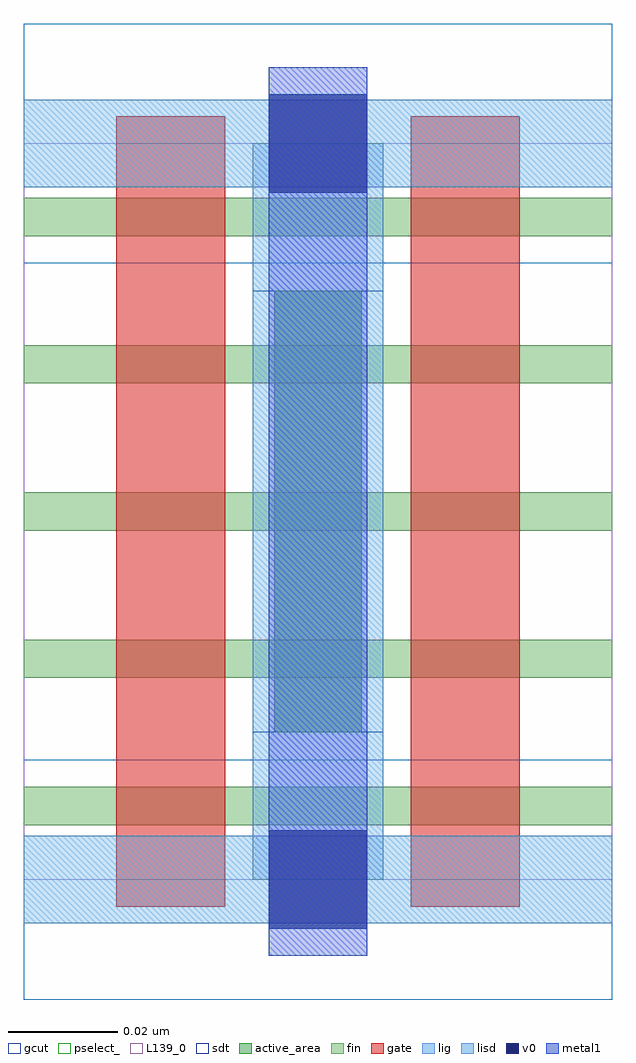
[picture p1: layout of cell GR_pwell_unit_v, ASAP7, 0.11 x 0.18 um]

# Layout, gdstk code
import gdstk
lib = gdstk.Library(unit=1e-6, precision=2.5e-10)
def R(c, l, rs):  # rectangles x0, y0, x1, y1
    for r in rs: c.add(gdstk.rectangle(r[:2], r[2:], *l))
def A(c, l, x, y, w, h, nx, ny, dx, dy):  # array of equal rectangles
    R(c, l, [(x+i*dx, y+j*dy, x+i*dx+w, y+j*dy+h) for i in range(nx) for j in range(ny)])
fin = (2, 0)
gate = (7, 0)
gcut = (10, 0)
active_area = (11, 0)
pselect_ = (13, 0)
lig = (16, 0)
lisd = (17, 0)
v0 = (18, 0)
metal1 = (19, 0)
sdt = (88, 0)
L139_0 = (139, 0)

gr_pwell_unit_v = lib.new_cell('GR_pwell_unit_v')
A(gr_pwell_unit_v, fin, 0, 0.01, 0.108, 0.007, 1, 5, 0, 0.027)
R(gr_pwell_unit_v, gate, [(0.017,-0.005,0.037,0.14), (0.071,-0.005,0.091,0.14)])
R(gr_pwell_unit_v, gcut, [(0,-0.022,0.108,0.022), (0,0.113,0.108,0.157)])
R(gr_pwell_unit_v, active_area, [(0.046,0.027,0.062,0.108)])
R(gr_pwell_unit_v, pselect_, [(0,0,0.108,0.135)])
R(gr_pwell_unit_v, lig, [(0,-0.008,0.108,0.008), (0,0.127,0.108,0.143)])
R(gr_pwell_unit_v, lisd, [(0.042,0,0.066,0.135)])
R(gr_pwell_unit_v, v0, [(0.045,-0.009,0.063,0.009), (0.045,0.126,0.063,0.144)])
R(gr_pwell_unit_v, metal1, [(0.045,-0.014,0.063,0.149)])
R(gr_pwell_unit_v, sdt, [(0.042,0.027,0.066,0.108)])
R(gr_pwell_unit_v, L139_0, [(0,0,0.108,0.135)])

lib.write_gds('GR_pwell_unit_v.gds')
